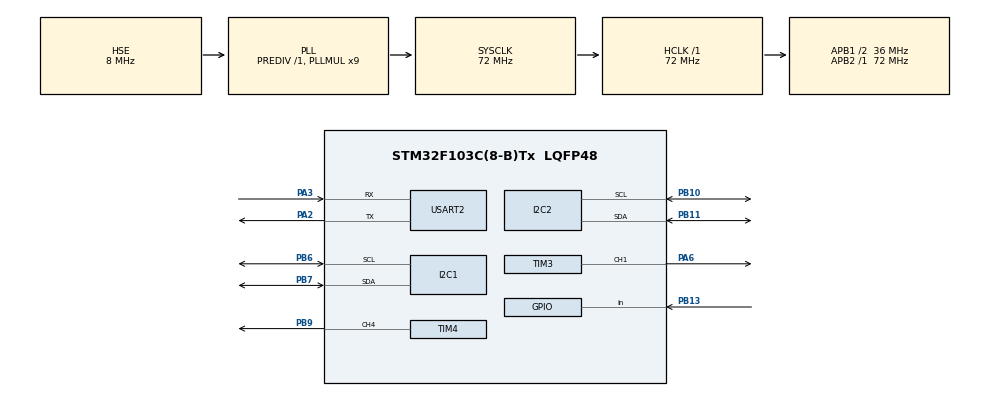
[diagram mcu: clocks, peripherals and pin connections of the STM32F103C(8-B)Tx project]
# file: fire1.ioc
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I2C1.I2C_Mode=I2C_Fast
Mcu.Family=STM32F1
Mcu.Name=STM32F103C(8-B)Tx
Mcu.Package=LQFP48
NVIC.PriorityGroup=NVIC_PRIORITYGROUP_4
PA13.Mode=Serial_Wire
PA13.Signal=SYS_JTMS-SWDIO
PA14.Mode=Serial_Wire
PA14.Signal=SYS_JTCK-SWCLK
PA2.Mode=Asynchronous
PA2.Signal=USART2_TX
PA3.Mode=Asynchronous
PA3.Signal=USART2_RX
PA6.Signal=S_TIM3_CH1
PB10.Mode=I2C
PB10.Signal=I2C2_SCL
PB11.Mode=I2C
PB11.Signal=I2C2_SDA
PB13.Signal=GPIO_Input
PB6.Mode=I2C
PB6.Signal=I2C1_SCL
PB7.Mode=I2C
PB7.Signal=I2C1_SDA
PB9.Signal=S_TIM4_CH4
PD0-OSC_IN.Mode=HSE-External-Oscillator
PD0-OSC_IN.Signal=RCC_OSC_IN
PD1-OSC_OUT.Mode=HSE-External-Oscillator
PD1-OSC_OUT.Signal=RCC_OSC_OUT
ProjectManager.HeapSize=0x200
ProjectManager.StackSize=0x400
ProjectManager.TargetToolchain=MDK-ARM V5.32
RCC.AHBFreq_Value=72000000
RCC.APB1CLKDivider=RCC_HCLK_DIV2
RCC.APB1Freq_Value=36000000
RCC.APB1TimFreq_Value=72000000
RCC.APB2Freq_Value=72000000
RCC.APB2TimFreq_Value=72000000
RCC.HCLKFreq_Value=72000000
RCC.PLLMUL=RCC_PLL_MUL9
RCC.PLLSourceVirtual=RCC_PLLSOURCE_HSE
RCC.SYSCLKFreq_VALUE=72000000
RCC.SYSCLKSource=RCC_SYSCLKSOURCE_PLLCLK
RCC.USBFreq_Value=72000000
SH.S_TIM3_CH1.0=TIM3_CH1,PWM Generation1 CH1
SH.S_TIM4_CH4.0=TIM4_CH4,PWM Generation4 CH4
TIM3.Channel-PWM\ Generation1\ CH1=TIM_CHANNEL_1
TIM3.Period=2000-1
TIM3.Prescaler=72-1
TIM4.Channel-PWM\ Generation4\ CH4=TIM_CHANNEL_4
TIM4.Prescaler=720-1
USART2.VirtualMode=VM_ASYNC
VP_TIM4_VS_ClockSourceINT.Mode=Internal
board=custom

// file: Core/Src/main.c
/* USER CODE BEGIN Header */
/**
  ******************************************************************************
  * @file           : main.c
  * @brief          : Main program body
  ******************************************************************************
  * @attention
  *
  * Copyright (c) 2025 STMicroelectronics.
  * All rights reserved.
  *
  * This software is licensed under terms that can be found in the LICENSE file
  * in the root directory of this software component.
  * If no LICENSE file comes with this software, it is provided AS-IS.
  *
  ******************************************************************************
  */
/* USER CODE END Header */
#include "main.h"
#include "i2c.h"
#include "tim.h"
#include "usart.h"
#include "gpio.h"

/* USER CODE BEGIN Includes */
#include "oled.h"
#include "font.h"
#include "stdio.h"
#include "string.h"
/* USER CODE END Includes */

void SystemClock_Config(void);

/* USER CODE BEGIN 0 */
void MPU6050_INIT()
{
HAL_Delay(100);
uint8_t SendAddress=0x6b;
uint8_t SendData=0x00;
HAL_I2C_Mem_Write(&hi2c2,0xD1,SendAddress,1,&SendData,1,0xff);

SendAddress=0x19;
SendData=0x07;
HAL_I2C_Mem_Write(&hi2c2,0xD1,SendAddress,1,&SendData,1,0xff);

SendAddress=0x1A;
SendData=0x06;
HAL_I2C_Mem_Write(&hi2c2,0xD1,SendAddress,1,&SendData,1,0xff);

SendAddress=0x1B;
SendData=0x08;
HAL_I2C_Mem_Write(&hi2c2,0xD1,SendAddress,1,&SendData,1,0xff);

SendAddress=0x1C;
SendData=0x00;
HAL_I2C_Mem_Write(&hi2c2,0xD1,SendAddress,1,&SendData,1,0xff);

}
/* USER CODE END 0 */

int main(void)
{

  /* MCU Configuration--------------------------------------------------------*/

  /* Reset of all peripherals, Initializes the Flash interface and the Systick. */
  HAL_Init();

  /* Configure the system clock */
  SystemClock_Config();

  /* Initialize all configured peripherals */
  MX_GPIO_Init();
  MX_I2C1_Init();
  MX_TIM3_Init();
  MX_I2C2_Init();
  MX_USART2_UART_Init();
  MX_TIM4_Init();
  /* USER CODE BEGIN 2 */
  HAL_Delay(20);
  OLED_Init();
  HAL_TIM_PWM_Start(&htim4,TIM_CHANNEL_4);

  uint8_t MPU_DATA[14]="";
  uint8_t StartAddress=0x3B;
  double ACCEL_XOUT=0.0,ACCEL_YOUT=0.0,ACCEL_ZOUT=0.0;
  double GYRO_XOUT=0.0,GYRO_YOUT=0.0,GYRO_ZOUT=0.0;
  MPU6050_INIT();

int count=0;
int duty=0;
//char message[20]="";
  /* USER CODE END 2 */

  /* Infinite loop */
  /* USER CODE BEGIN WHILE */
  while (1)
  {
	/*HAL_I2C_Mem_Read(&hi2c2,0xD1,StartAddress,I2C_MEMADD_SIZE_8BIT,MPU_DATA,14,50);
	float Temp=(MPU_DATA[6]<<8)|MPU_DATA[7];
	if(Temp>32768) Temp-=65536;
	Temp=(36.53+Temp/340);

	short int ACCEL_XOUT1=((MPU_DATA[0]<<8)|MPU_DATA[1]);ACCEL_XOUT=(double)ACCEL_XOUT1/16384;
	short int ACCEL_YOUT1=((MPU_DATA[2]<<8)|MPU_DATA[3]);ACCEL_YOUT=(double)ACCEL_YOUT1/16384;
	short int ACCEL_ZOUT1=((MPU_DATA[4]<<8)|MPU_DATA[5]);ACCEL_ZOUT=(double)ACCEL_ZOUT1/16384;

	short int GYRO_XOUT1=((MPU_DATA[8]<<8)|MPU_DATA[9]);GYRO_XOUT=(double)GYRO_XOUT1/65.5;
	short int GYRO_YOUT1=((MPU_DATA[10]<<8)|MPU_DATA[11]);GYRO_YOUT=(double)GYRO_YOUT1/65.5;
	short int GYRO_ZOUT1=((MPU_DATA[12]<<8)|MPU_DATA[13]);GYRO_ZOUT=(double)GYRO_ZOUT1/65.5;*/

	for(int i=50;i<250;i++)
	{
		__HAL_TIM_SET_COMPARE(&htim4,TIM_CHANNEL_4,i);
		HAL_Delay(10);
	}

	/*HAL_GPIO_ReadPin(GPIOB,GPIO_PIN_12);
	if(HAL_GPIO_ReadPin(GPIOB,GPIO_PIN_12)==GPIO_PIN_RESET)
	{
		HAL_Delay(10);
		if(HAL_GPIO_ReadPin(GPIOB,GPIO_PIN_12)==GPIO_PIN_RESET)
		{

			count+=1;
			if(count>20)
			{
				count=0;
			}
			while(HAL_GPIO_ReadPin(GPIOB,GPIO_PIN_13)==GPIO_PIN_RESET){};
		}

	}*/
	/*duty=(10*count/20.00+2.5)/100*2000;
	__HAL_TIM_SET_COMPARE(&htim3,TIM_CHANNEL_1,duty);
	  for(uint8_t i=0;i<64;i++)
	  {
		  OLED_NewFrame();
		  //OLED_DrawImage(43,0,&bilibiliImg,OLED_COLOR_NORMAL);

		// OLED_PrintString(0,0,"左偏角过大",&ZUO16x16,OLED_COLOR_NORMAL);
		// OLED_PrintString(0,20,"右偏角过大",&YOU16x16,OLED_COLOR_NORMAL);
		// OLED_PrintString(0,40,"姿态正常",&ZHE16x16,OLED_COLOR_NORMAL);
		sprintf(message,"count:%d",count);
		OLED_PrintString(0,0,message,&font16x16,OLED_COLOR_NORMAL);

		  OLED_ShowFrame();
	  }*/
	HAL_Delay(10);
    /* USER CODE END WHILE */

  }
}

void SystemClock_Config(void)
{
  RCC_OscInitTypeDef RCC_OscInitStruct = {0};
  RCC_ClkInitTypeDef RCC_ClkInitStruct = {0};

  /** Initializes the RCC Oscillators according to the specified parameters
  * in the RCC_OscInitTypeDef structure.
  */
  RCC_OscInitStruct.OscillatorType = RCC_OSCILLATORTYPE_HSE;
  RCC_OscInitStruct.HSEState = RCC_HSE_ON;
  RCC_OscInitStruct.HSEPredivValue = RCC_HSE_PREDIV_DIV1;
  RCC_OscInitStruct.HSIState = RCC_HSI_ON;
  RCC_OscInitStruct.PLL.PLLState = RCC_PLL_ON;
  RCC_OscInitStruct.PLL.PLLSource = RCC_PLLSOURCE_HSE;
  RCC_OscInitStruct.PLL.PLLMUL = RCC_PLL_MUL9;
  if (HAL_RCC_OscConfig(&RCC_OscInitStruct) != HAL_OK)
  {
    Error_Handler();
  }

  /** Initializes the CPU, AHB and APB buses clocks
  */
  RCC_ClkInitStruct.ClockType = RCC_CLOCKTYPE_HCLK|RCC_CLOCKTYPE_SYSCLK
                              |RCC_CLOCKTYPE_PCLK1|RCC_CLOCKTYPE_PCLK2;
  RCC_ClkInitStruct.SYSCLKSource = RCC_SYSCLKSOURCE_PLLCLK;
  RCC_ClkInitStruct.AHBCLKDivider = RCC_SYSCLK_DIV1;
  RCC_ClkInitStruct.APB1CLKDivider = RCC_HCLK_DIV2;
  RCC_ClkInitStruct.APB2CLKDivider = RCC_HCLK_DIV1;

  if (HAL_RCC_ClockConfig(&RCC_ClkInitStruct, FLASH_LATENCY_2) != HAL_OK)
  {
    Error_Handler();
  }
}

void Error_Handler(void)
{
  __disable_irq();
  while (1)
  {
  }
}
